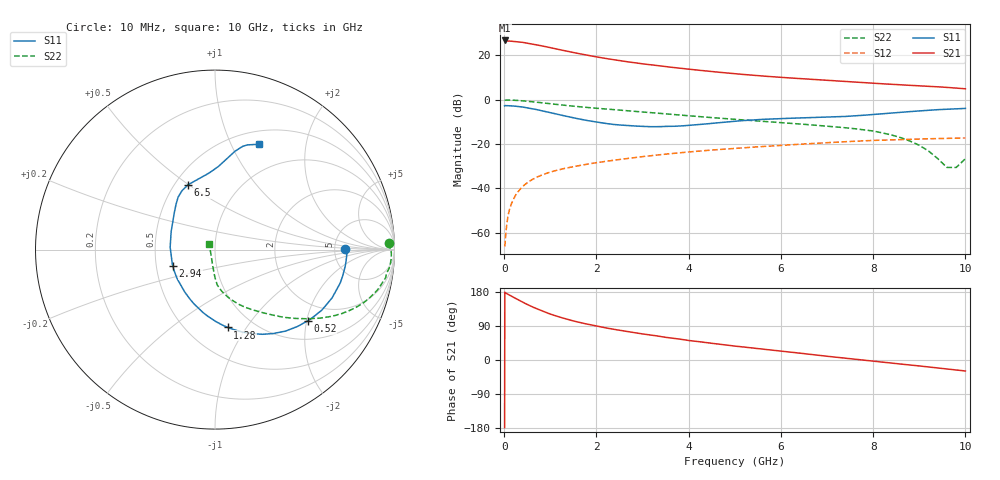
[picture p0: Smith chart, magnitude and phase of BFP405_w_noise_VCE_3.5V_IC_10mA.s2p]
! Infineon Technologies  Discrete & RF Semiconductors
! BFP405
! VCE =  3.5 V,  IC =  10 mA
! Common Emitter S-Parameters:  Jan 2016
# GHz  S  MA  R  50
!  f  S11  S21  S12  S22
! GHz  MAG  ANG  MAG  ANG  MAG  ANG  MAG  ANG
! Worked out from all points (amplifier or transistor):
!   233 points, 10 MHz to 10 GHz, reference 50 ohm
!   highest |S21| = 26.7 dB at 10 MHz (marker M1)
!   |S21| within 3 dB of that: start of sweep to 943.6 MHz
!   unconditionally stable (mu >= 1): start of sweep to 24.93 MHz; 2.679 GHz to end of sweep
!   at 200 MHz: K = 0.17, MSG = 35.7 dB, |S12| = -45.0 dB
!   at 1.74 GHz: K = 0.76, MSG = 24.8 dB, |S12| = -29.3 dB
!   at 10 GHz: K = 1.37, MAG = 7.5 dB, |S12| = -17.3 dB
!   lowest NFmin = 1.62 dB at 900 MHz
!   S11 on the Smith chart (normalised r, x): 10 MHz: 6.25, +0.07; 520 MHz: 1.47, -2.03; 1.28 GHz: 0.77, -0.82; 2.94 GHz: 0.61, -0.12; 6.5 GHz: 0.58, +0.50; 10 GHz: 0.65, +1.28
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0.01  0.7242 0.2  21.65 -178.6  0.0005 34.6  0.968 2.1
0.02  0.7368 -0.6  21.4 177.2  0.0006 58.9  0.9765 0.2
0.09  0.7317 -6.7  21.04 172.9  0.0026 83.4  0.9832 -2.5
0.22  0.7178 -16.5  20.59 164.4  0.0062 81.4  0.9709 -6.9
0.4  0.6838 -29.6  19.62 152.7  0.011 76.2  0.9442 -12.2
0.52  0.6511 -37.6  18.72 145.6  0.0139 73.2  0.92 -15.4
0.7  0.6002 -49.2  17.28 135.5  0.0178 69.4  0.8799 -19.6
0.84  0.5573 -57.4  16.15 128.5  0.0205 66.9  0.8475 -22.3
1.02  0.5055 -67.2  14.74 120.4  0.0236 64.1  0.8077 -25.5
1.28  0.4393 -80.7  12.91 110.4  0.0278 61.3  0.7549 -29.3
1.5  0.3915 -91.6  11.57 103.1  0.031 59.4  0.7153 -31.9
1.68  0.3592 -100.0  10.64 97.9  0.0335 58.1  0.6863 -33.9
2.2  0.2921 -124.7  8.509 84.8  0.0407 55.2  0.6166 -38.6
2.94  0.2522 -158.6  6.567 70.0  0.0512 51.2  0.536 -44.6
3.4  0.2475 -178.7  5.734 61.9  0.0578 48.3  0.4898 -48.3
4  0.264 157.7  4.874 51.6  0.0664 44.3  0.4347 -53.5
5.1  0.3337 130.5  3.773 35.5  0.0814 36.3  0.3545 -63.4
6.5  0.3911 112.6  2.954 16.8  0.1005 26.3  0.279 -74.2
6.8  0.3973 107.3  2.815 12.8  0.1047 23.8  0.2634 -76.3
8.4  0.5011 83.4  2.221 -8.2  0.1246 9.6  0.1602 -89.6
9.6  0.6112 72.7  1.894 -23.8  0.1346 -0.5  0.0297 -143.7
10  0.636 67.3  1.762 -29.0  0.1372 -3.4  0.0468 135.5
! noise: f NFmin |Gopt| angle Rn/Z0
0.9  1.62  0.2  6  0.32
1.8  1.88  0.14  1  0.29
2.4  2  0.12  4  0.31
3  2.03  0.08  20  0.29
4  2.19  0.05  -72  0.28
5  2.56  0.11  -98  0.28
